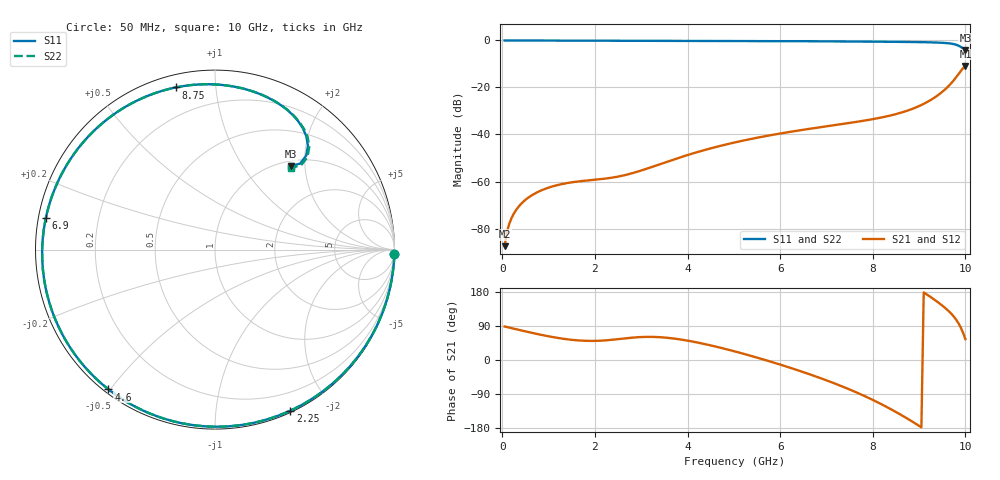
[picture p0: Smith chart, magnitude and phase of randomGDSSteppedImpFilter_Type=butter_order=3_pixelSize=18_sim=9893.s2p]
! freq	dB(S11)	phase(S11)	dB(S12)	phase(S12)
!  dB(S21)	phase(S21)	dB(S22)	phase(S22)
!S-par simulation data
#  GHz  S  DB  R 50
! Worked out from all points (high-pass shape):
!   200 points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, 50 MHz to 10 GHz, reference 50 ohm
!   highest |S21| = -10.84 dB at 10 GHz (marker M1); lowest = -87.5 dB at 50 MHz (marker M2)
!   |S21| within 3 dB of the highest: 9.87 GHz to end of sweep
!   lowest |S11| = -4.1 dB at 10 GHz (marker M3), VSWR 4.36, Z = 55.1 + j84.3 ohm
!   |S11| at or under -10 dB: nowhere
!   |S22| runs from -4.1 to 0.0 dB; largest |S21 - S12| = 0
!   S11 on the Smith chart (normalised r, x): 50 MHz: 0, -76; 2.25 GHz: 0.02, -1.57; 4.6 GHz: 0.01, -0.50; 6.9 GHz: 0.02, +0.09; 8.75 GHz: 0.06, +0.78; 10 GHz: 1.10, +1.69
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0.05  -0.00 -1.5  -87.50 88.4  -87.50 88.4  -0.00 -1.5
0.1  -0.00 -3.0  -81.50 87.0  -81.50 87.0  -0.00 -3.0
0.25  -0.01 -7.4  -73.61 82.6  -73.61 82.6  -0.01 -7.4
0.35  -0.02 -10.4  -70.75 79.7  -70.75 79.7  -0.02 -10.4
0.65  -0.03 -19.2  -65.71 71.3  -65.71 71.3  -0.03 -19.2
1.1  -0.04 -32.3  -61.99 60.3  -61.99 60.3  -0.04 -32.3
1.75  -0.06 -50.9  -59.72 50.9  -59.72 50.9  -0.06 -50.9
2.25  -0.08 -64.9  -58.70 52.0  -58.70 52.0  -0.08 -64.9
2.8  -0.10 -79.9  -56.51 58.9  -56.51 58.9  -0.10 -79.9
3.4  -0.12 -96.0  -52.65 60.2  -52.65 60.2  -0.12 -96.0
4.6  -0.18 -127.3  -45.38 35.7  -45.38 35.7  -0.18 -127.3
5.05  -0.21 -139.1  -43.25 21.7  -43.25 21.7  -0.21 -139.1
5.9  -0.27 -161.8  -39.93 -8.3  -39.93 -8.3  -0.27 -161.9
6.7  -0.34 175.4  -37.39 -40.4  -37.39 -40.4  -0.35 175.3
6.9  -0.37 169.4  -36.80 -49.2  -36.80 -49.2  -0.37 169.3
7.65  -0.45 145.3  -34.63 -85.7  -34.63 -85.7  -0.46 145.0
8.35  -0.56 119.8  -32.07 -127.1  -32.07 -127.1  -0.56 119.4
8.75  -0.63 103.6  -29.84 -154.8  -29.84 -154.8  -0.64 103.2
9.3  -0.83 78.8  -24.74 161.9  -24.74 161.9  -0.83 78.1
9.75  -1.56 54.2  -16.92 114.5  -16.92 114.5  -1.58 53.4
9.9  -2.73 45.9  -13.04 85.7  -13.04 85.7  -2.76 45.0
10  -4.06 47.8  -10.84 55.1  -10.84 55.1  -4.11 47.0
